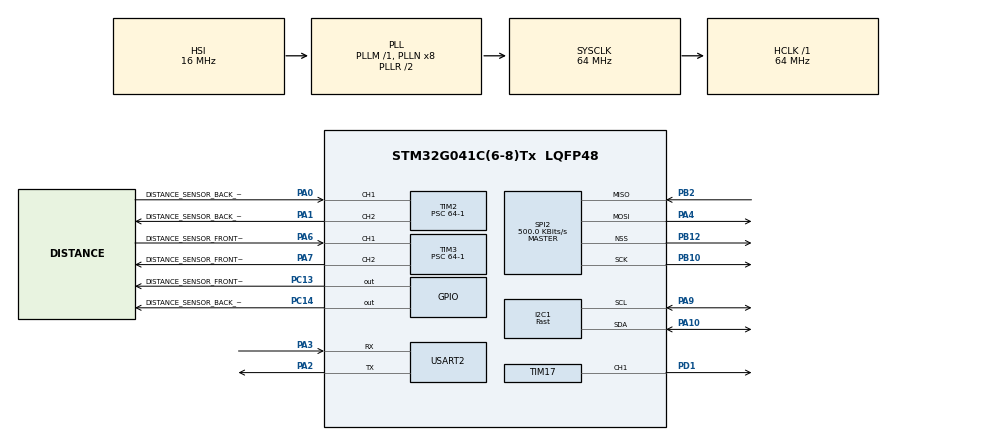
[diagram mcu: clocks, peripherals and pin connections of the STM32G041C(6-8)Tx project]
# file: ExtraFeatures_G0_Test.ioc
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Dma.I2C1_RX.0.Direction=DMA_PERIPH_TO_MEMORY
Dma.I2C1_RX.0.EventEnable=DISABLE
Dma.I2C1_RX.0.Instance=DMA1_Channel1
Dma.I2C1_RX.0.MemDataAlignment=DMA_MDATAALIGN_HALFWORD
Dma.I2C1_RX.0.MemInc=DMA_MINC_ENABLE
Dma.I2C1_RX.0.Mode=DMA_NORMAL
Dma.I2C1_RX.0.PeriphDataAlignment=DMA_PDATAALIGN_HALFWORD
Dma.I2C1_RX.0.PeriphInc=DMA_PINC_DISABLE
Dma.I2C1_RX.0.Polarity=HAL_DMAMUX_REQ_GEN_RISING
Dma.I2C1_RX.0.Priority=DMA_PRIORITY_MEDIUM
Dma.I2C1_RX.0.RequestNumber=1
Dma.I2C1_RX.0.SignalID=NONE
Dma.I2C1_RX.0.SyncEnable=DISABLE
Dma.I2C1_RX.0.SyncPolarity=HAL_DMAMUX_SYNC_NO_EVENT
Dma.I2C1_RX.0.SyncRequestNumber=1
Dma.I2C1_RX.0.SyncSignalID=NONE
Dma.Request0=I2C1_RX
I2C1.I2C_Speed_Mode=I2C_Fast
I2C1.Timing=0x00602173
Mcu.Family=STM32G0
Mcu.Name=STM32G041C(6-8)Tx
Mcu.Package=LQFP48
NVIC.DMA1_Channel1_IRQn=true\:0\:0\:false\:false\:true\:false\:true\:true
NVIC.I2C1_IRQn=true\:0\:0\:false\:false\:true\:true\:true\:true
NVIC.SPI2_IRQn=true\:0\:0\:false\:false\:true\:true\:true\:true
NVIC.TIM2_IRQn=true\:0\:0\:false\:false\:true\:true\:true\:true
NVIC.TIM3_IRQn=true\:0\:0\:false\:false\:true\:true\:true\:true
PA0.GPIO_Label=DISTANCE_SENSOR_BACK_INPUT_CAPTURE
PA0.Signal=S_TIM2_CH1_ETR
PA1.GPIO_Label=DISTANCE_SENSOR_BACK_PULSE
PA1.Signal=S_TIM2_CH2
PA10.Mode=I2C
PA10.Signal=I2C1_SDA
PA13.Mode=Serial_Wire
PA13.Signal=SYS_SWDIO
PA14-BOOT0.Mode=Serial_Wire
PA14-BOOT0.Signal=SYS_SWCLK
PA2.Mode=Asynchronous
PA2.Signal=USART2_TX
PA3.Mode=Asynchronous
PA3.Signal=USART2_RX
PA4.Mode=Full_Duplex_Master
PA4.Signal=SPI2_MOSI
PA6.GPIO_Label=DISTANCE_SENSOR_FRONT_INPUT_CAPTURE
PA6.Signal=S_TIM3_CH1
PA7.GPIO_Label=DISTANCE_SENSOR_FRONT_PULSE
PA7.PinState=GPIO_PIN_RESET
PA7.Signal=S_TIM3_CH2
PA9.Mode=I2C
PA9.Signal=I2C1_SCL
PB10.Mode=Full_Duplex_Master
PB10.Signal=SPI2_SCK
PB12.Mode=NSS_Signal_Hard_Output
PB12.Signal=SPI2_NSS
PB2.Mode=Full_Duplex_Master
PB2.Signal=SPI2_MISO
PC13.GPIO_Label=DISTANCE_SENSOR_FRONT_STATUS
PC13.Signal=GPIO_Output
PC14-OSC32_IN\ (PC14).GPIO_Label=DISTANCE_SENSOR_BACK_STATUS
PC14-OSC32_IN\ (PC14).Signal=GPIO_Output
PD1.Signal=S_TIM17_CH1
ProjectManager.HeapSize=0x200
ProjectManager.StackSize=0x400
ProjectManager.TargetToolchain=STM32CubeIDE
RCC.ADCFreq_Value=64000000
RCC.AHBFreq_Value=64000000
RCC.CortexFreq_Value=64000000
RCC.EXTERNAL_CLOCK_VALUE=12288000
RCC.HCLKFreq_Value=64000000
RCC.HSE_VALUE=8000000
RCC.HSI_VALUE=16000000
RCC.LSE_VALUE=32768
RCC.SYSCLKFreq_VALUE=64000000
RCC.SYSCLKSource=RCC_SYSCLKSOURCE_PLLCLK
RCC.VCOOutputFreq_Value=128000000
SH.S_TIM17_CH1.0=TIM17_CH1,PWM Generation1 CH1
SH.S_TIM2_CH1_ETR.0=TIM2_CH1,Input_Capture1_from_TI1
SH.S_TIM2_CH2.0=TIM2_CH2,PWM Generation2 CH2
SH.S_TIM3_CH1.0=TIM3_CH1,Input_Capture1_from_TI1
SH.S_TIM3_CH2.0=TIM3_CH2,PWM Generation2 CH2
SPI2.BaudRatePrescaler=SPI_BAUDRATEPRESCALER_128
SPI2.CalculateBaudRate=500.0 KBits/s
SPI2.Direction=SPI_DIRECTION_2LINES
SPI2.Mode=SPI_MODE_MASTER
SPI2.VirtualNSS=VM_NSSHARD
SPI2.VirtualType=VM_MASTER
TIM17.AutoReloadPreload=TIM_AUTORELOAD_PRELOAD_ENABLE
TIM17.Channel=TIM_CHANNEL_1
TIM17.Period=2273
TIM17.Prescaler=64-1
TIM17.Pulse=1137
TIM2.AutoReloadPreload=TIM_AUTORELOAD_PRELOAD_ENABLE
TIM2.Channel-Input_Capture1_from_TI1=TIM_CHANNEL_1
TIM2.Channel-PWM\ Generation2\ CH2=TIM_CHANNEL_2
TIM2.ICPolarity_CH1=TIM_INPUTCHANNELPOLARITY_BOTHEDGE
TIM2.Period=65535
TIM2.Prescaler=64-1
TIM2.Pulse-PWM\ Generation2\ CH2=10
TIM3.AutoReloadPreload=TIM_AUTORELOAD_PRELOAD_ENABLE
TIM3.Channel-Input_Capture1_from_TI1=TIM_CHANNEL_1
TIM3.Channel-PWM\ Generation2\ CH2=TIM_CHANNEL_2
TIM3.ICPolarity_CH1=TIM_INPUTCHANNELPOLARITY_BOTHEDGE
TIM3.OCPolarity_2=TIM_OCPOLARITY_HIGH
TIM3.Period=65535
TIM3.Prescaler=64-1
TIM3.Pulse-PWM\ Generation2\ CH2=10
USART2.VirtualMode-Asynchronous=VM_ASYNC
VP_TIM17_VS_ClockSourceINT.Mode=Enable_Timer
VP_TIM2_VS_ClockSourceINT.Mode=Internal
VP_TIM3_VS_ClockSourceINT.Mode=Internal
board=custom

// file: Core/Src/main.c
/* USER CODE BEGIN Header */
/**
  ******************************************************************************
  * @file           : main.c
  * @brief          : Main program body
  ******************************************************************************
  * @attention
  *
  * Copyright (c) 2025 STMicroelectronics.
  * All rights reserved.
  *
  * This software is licensed under terms that can be found in the LICENSE file
  * in the root directory of this software component.
  * If no LICENSE file comes with this software, it is provided AS-IS.
  *
  ******************************************************************************
  */
/* USER CODE END Header */
#include "main.h"

/* USER CODE BEGIN Includes */
#include <stdio.h>
#include <string.h>

#include "distancesensor.h"
//#include "speaker.h"
//#include "colorsensor.h"
//#include "rfid.h"
/* USER CODE END Includes */

I2C_HandleTypeDef hi2c1;
DMA_HandleTypeDef hdma_i2c1_rx;

SPI_HandleTypeDef hspi2;

TIM_HandleTypeDef htim2;
TIM_HandleTypeDef htim3;
TIM_HandleTypeDef htim17;

UART_HandleTypeDef huart2;

/* USER CODE BEGIN PV */
distancesensor Front;
distancesensor Back;
char Data[64];
/* USER CODE END PV */

void SystemClock_Config(void);
static void MX_GPIO_Init(void);
static void MX_DMA_Init(void);
static void MX_TIM3_Init(void);
static void MX_USART2_UART_Init(void);
static void MX_TIM2_Init(void);
static void MX_TIM17_Init(void);
static void MX_I2C1_Init(void);
static void MX_SPI2_Init(void);

/* USER CODE BEGIN 0 */

void HAL_TIM_IC_CaptureCallback(TIM_HandleTypeDef *htim) {
    if (htim->Instance == TIM3) {
		DistanceSensor_InputCaptureInterrupt(&Front);
	}
	else if (htim->Instance == TIM2) {
		DistanceSensor_InputCaptureInterrupt(&Back);
	}

}

void HAL_TIM_PeriodElapsedCallback(TIM_HandleTypeDef *htim)
{
	if (htim->Instance == TIM3)
	{
		//Front.risingEdge = true;
	}
}
/*
void HAL_TIM_PWM_PulseFinishedCallback(TIM_HandleTypeDef *htim)
{
	if (htim->Instance == TIM3)
	{
		//DistanceSensor_StopPWM(&Front);
	}
}
*/

/* USER CODE END 0 */

int main(void)
{

  /* MCU Configuration--------------------------------------------------------*/

  /* Reset of all peripherals, Initializes the Flash interface and the Systick. */
  HAL_Init();

  /* Configure the system clock */
  SystemClock_Config();

  /* Initialize all configured peripherals */
  MX_GPIO_Init();
  MX_DMA_Init();
  MX_TIM3_Init();
  MX_USART2_UART_Init();
  MX_TIM2_Init();
  MX_TIM17_Init();
  MX_I2C1_Init();
  MX_SPI2_Init();
  /* USER CODE BEGIN 2 */
  //Speaker_Init(&Speaker, &htim17);
  DistanceSensor_Init(&Front, &htim3);
  //DistanceSensor_Init(&Back, &htim2, DISTANCE_SENSOR_BACK_ID, DISTANCE_SENSOR_BACK_INPUT_CAPTURE_GPIO_Port, DISTANCE_SENSOR_BACK_INPUT_CAPTURE_Pin, DISTANCE_SENSOR_BACK_STATUS_GPIO_Port, DISTANCE_SENSOR_BACK_STATUS_Pin);
  //ColorSensor_Init(&ColorSensor, &hi2c1, 0x10);
  //RFID_Init(&RFIDModule, &hspi2);
  //HAL_Delay(100);
  /* USER CODE END 2 */

  /* Infinite loop */
  /* USER CODE BEGIN WHILE */
  //DistanceSensor_Start(&FrontDistanceSensor);
  //__HAL_TIM_SET_COMPARE(&htim3, TIM_CHANNEL_2, 1000);
  DistanceSensor_Start(&Front);
  //DistanceSensor_Start(&Front);
  //DistanceSensor_Start(&Back);
  //uint8_t value;
  //HAL_TIM_PWM_Start(&htim3, TIM_CHANNEL_2);
  while (1)
  {
	  /*
	  sprintf(Data, "%f %f\r\n", DistanceSensor_GetDistance(&Front), DistanceSensor_GetDistance(&Back));
	  HAL_UART_Transmit(&huart2, (uint8_t*) Data, strlen(Data), HAL_MAX_DELAY);
	  HAL_Delay(100);

	*/

	  //RFID_ReadRegister(&RFIDModule, TPrescalerReg, 1, &value, 0);
	  sprintf(Data, "%f\r\n", DistanceSensor_GetDistance(&Front));
	  HAL_UART_Transmit(&huart2, (uint8_t*) Data, strlen(Data), HAL_MAX_DELAY);
	  HAL_Delay(250);

	  //DistanceSensor_Start(&Front);

    /* USER CODE END WHILE */

  }
}

void SystemClock_Config(void)
{
  RCC_OscInitTypeDef RCC_OscInitStruct = {0};
  RCC_ClkInitTypeDef RCC_ClkInitStruct = {0};

  /** Configure the main internal regulator output voltage
  */
  HAL_PWREx_ControlVoltageScaling(PWR_REGULATOR_VOLTAGE_SCALE1);

  /** Initializes the RCC Oscillators according to the specified parameters
  * in the RCC_OscInitTypeDef structure.
  */
  RCC_OscInitStruct.OscillatorType = RCC_OSCILLATORTYPE_HSI;
  RCC_OscInitStruct.HSIState = RCC_HSI_ON;
  RCC_OscInitStruct.HSIDiv = RCC_HSI_DIV1;
  RCC_OscInitStruct.HSICalibrationValue = RCC_HSICALIBRATION_DEFAULT;
  RCC_OscInitStruct.PLL.PLLState = RCC_PLL_ON;
  RCC_OscInitStruct.PLL.PLLSource = RCC_PLLSOURCE_HSI;
  RCC_OscInitStruct.PLL.PLLM = RCC_PLLM_DIV1;
  RCC_OscInitStruct.PLL.PLLN = 8;
  RCC_OscInitStruct.PLL.PLLP = RCC_PLLP_DIV2;
  RCC_OscInitStruct.PLL.PLLQ = RCC_PLLQ_DIV2;
  RCC_OscInitStruct.PLL.PLLR = RCC_PLLR_DIV2;
  if (HAL_RCC_OscConfig(&RCC_OscInitStruct) != HAL_OK)
  {
    Error_Handler();
  }

  /** Initializes the CPU, AHB and APB buses clocks
  */
  RCC_ClkInitStruct.ClockType = RCC_CLOCKTYPE_HCLK|RCC_CLOCKTYPE_SYSCLK
                              |RCC_CLOCKTYPE_PCLK1;
  RCC_ClkInitStruct.SYSCLKSource = RCC_SYSCLKSOURCE_PLLCLK;
  RCC_ClkInitStruct.AHBCLKDivider = RCC_SYSCLK_DIV1;
  RCC_ClkInitStruct.APB1CLKDivider = RCC_HCLK_DIV1;

  if (HAL_RCC_ClockConfig(&RCC_ClkInitStruct, FLASH_LATENCY_2) != HAL_OK)
  {
    Error_Handler();
  }
}

static void MX_I2C1_Init(void)
{

  hi2c1.Instance = I2C1;
  hi2c1.Init.Timing = 0x00602173;
  hi2c1.Init.OwnAddress1 = 0;
  hi2c1.Init.AddressingMode = I2C_ADDRESSINGMODE_7BIT;
  hi2c1.Init.DualAddressMode = I2C_DUALADDRESS_DISABLE;
  hi2c1.Init.OwnAddress2 = 0;
  hi2c1.Init.OwnAddress2Masks = I2C_OA2_NOMASK;
  hi2c1.Init.GeneralCallMode = I2C_GENERALCALL_DISABLE;
  hi2c1.Init.NoStretchMode = I2C_NOSTRETCH_DISABLE;
  if (HAL_I2C_Init(&hi2c1) != HAL_OK)
  {
    Error_Handler();
  }

  /** Configure Analogue filter
  */
  if (HAL_I2CEx_ConfigAnalogFilter(&hi2c1, I2C_ANALOGFILTER_ENABLE) != HAL_OK)
  {
    Error_Handler();
  }

  /** Configure Digital filter
  */
  if (HAL_I2CEx_ConfigDigitalFilter(&hi2c1, 0) != HAL_OK)
  {
    Error_Handler();
  }

}

static void MX_SPI2_Init(void)
{

  /* SPI2 parameter configuration*/
  hspi2.Instance = SPI2;
  hspi2.Init.Mode = SPI_MODE_MASTER;
  hspi2.Init.Direction = SPI_DIRECTION_2LINES;
  hspi2.Init.DataSize = SPI_DATASIZE_8BIT;
  hspi2.Init.CLKPolarity = SPI_POLARITY_LOW;
  hspi2.Init.CLKPhase = SPI_PHASE_1EDGE;
  hspi2.Init.NSS = SPI_NSS_HARD_OUTPUT;
  hspi2.Init.BaudRatePrescaler = SPI_BAUDRATEPRESCALER_128;
  hspi2.Init.FirstBit = SPI_FIRSTBIT_MSB;
  hspi2.Init.TIMode = SPI_TIMODE_DISABLE;
  hspi2.Init.CRCCalculation = SPI_CRCCALCULATION_DISABLE;
  hspi2.Init.CRCPolynomial = 7;
  hspi2.Init.CRCLength = SPI_CRC_LENGTH_DATASIZE;
  hspi2.Init.NSSPMode = SPI_NSS_PULSE_ENABLE;
  if (HAL_SPI_Init(&hspi2) != HAL_OK)
  {
    Error_Handler();
  }

}

static void MX_TIM2_Init(void)
{

  TIM_ClockConfigTypeDef sClockSourceConfig = {0};
  TIM_MasterConfigTypeDef sMasterConfig = {0};
  TIM_IC_InitTypeDef sConfigIC = {0};
  TIM_OC_InitTypeDef sConfigOC = {0};

  htim2.Instance = TIM2;
  htim2.Init.Prescaler = 64-1;
  htim2.Init.CounterMode = TIM_COUNTERMODE_UP;
  htim2.Init.Period = 65535;
  htim2.Init.ClockDivision = TIM_CLOCKDIVISION_DIV1;
  htim2.Init.AutoReloadPreload = TIM_AUTORELOAD_PRELOAD_ENABLE;
  if (HAL_TIM_Base_Init(&htim2) != HAL_OK)
  {
    Error_Handler();
  }
  sClockSourceConfig.ClockSource = TIM_CLOCKSOURCE_INTERNAL;
  if (HAL_TIM_ConfigClockSource(&htim2, &sClockSourceConfig) != HAL_OK)
  {
    Error_Handler();
  }
  if (HAL_TIM_IC_Init(&htim2) != HAL_OK)
  {
    Error_Handler();
  }
  if (HAL_TIM_PWM_Init(&htim2) != HAL_OK)
  {
    Error_Handler();
  }
  sMasterConfig.MasterOutputTrigger = TIM_TRGO_RESET;
  sMasterConfig.MasterSlaveMode = TIM_MASTERSLAVEMODE_DISABLE;
  if (HAL_TIMEx_MasterConfigSynchronization(&htim2, &sMasterConfig) != HAL_OK)
  {
    Error_Handler();
  }
  sConfigIC.ICPolarity = TIM_INPUTCHANNELPOLARITY_BOTHEDGE;
  sConfigIC.ICSelection = TIM_ICSELECTION_DIRECTTI;
  sConfigIC.ICPrescaler = TIM_ICPSC_DIV1;
  sConfigIC.ICFilter = 0;
  if (HAL_TIM_IC_ConfigChannel(&htim2, &sConfigIC, TIM_CHANNEL_1) != HAL_OK)
  {
    Error_Handler();
  }
  sConfigOC.OCMode = TIM_OCMODE_PWM1;
  sConfigOC.Pulse = 10;
  sConfigOC.OCPolarity = TIM_OCPOLARITY_HIGH;
  sConfigOC.OCFastMode = TIM_OCFAST_DISABLE;
  if (HAL_TIM_PWM_ConfigChannel(&htim2, &sConfigOC, TIM_CHANNEL_2) != HAL_OK)
  {
    Error_Handler();
  }
  HAL_TIM_MspPostInit(&htim2);

}

static void MX_TIM3_Init(void)
{

  TIM_ClockConfigTypeDef sClockSourceConfig = {0};
  TIM_MasterConfigTypeDef sMasterConfig = {0};
  TIM_IC_InitTypeDef sConfigIC = {0};
  TIM_OC_InitTypeDef sConfigOC = {0};

  htim3.Instance = TIM3;
  htim3.Init.Prescaler = 64-1;
  htim3.Init.CounterMode = TIM_COUNTERMODE_UP;
  htim3.Init.Period = 65535;
  htim3.Init.ClockDivision = TIM_CLOCKDIVISION_DIV1;
  htim3.Init.AutoReloadPreload = TIM_AUTORELOAD_PRELOAD_ENABLE;
  if (HAL_TIM_Base_Init(&htim3) != HAL_OK)
  {
    Error_Handler();
  }
  sClockSourceConfig.ClockSource = TIM_CLOCKSOURCE_INTERNAL;
  if (HAL_TIM_ConfigClockSource(&htim3, &sClockSourceConfig) != HAL_OK)
  {
    Error_Handler();
  }
  if (HAL_TIM_IC_Init(&htim3) != HAL_OK)
  {
    Error_Handler();
  }
  if (HAL_TIM_PWM_Init(&htim3) != HAL_OK)
  {
    Error_Handler();
  }
  sMasterConfig.MasterOutputTrigger = TIM_TRGO_RESET;
  sMasterConfig.MasterSlaveMode = TIM_MASTERSLAVEMODE_DISABLE;
  if (HAL_TIMEx_MasterConfigSynchronization(&htim3, &sMasterConfig) != HAL_OK)
  {
    Error_Handler();
  }
  sConfigIC.ICPolarity = TIM_INPUTCHANNELPOLARITY_BOTHEDGE;
  sConfigIC.ICSelection = TIM_ICSELECTION_DIRECTTI;
  sConfigIC.ICPrescaler = TIM_ICPSC_DIV1;
  sConfigIC.ICFilter = 0;
  if (HAL_TIM_IC_ConfigChannel(&htim3, &sConfigIC, TIM_CHANNEL_1) != HAL_OK)
  {
    Error_Handler();
  }
  sConfigOC.OCMode = TIM_OCMODE_PWM1;
  sConfigOC.Pulse = 10;
  sConfigOC.OCPolarity = TIM_OCPOLARITY_HIGH;
  sConfigOC.OCFastMode = TIM_OCFAST_DISABLE;
  if (HAL_TIM_PWM_ConfigChannel(&htim3, &sConfigOC, TIM_CHANNEL_2) != HAL_OK)
  {
    Error_Handler();
  }
  HAL_TIM_MspPostInit(&htim3);

}

static void MX_TIM17_Init(void)
{

  TIM_OC_InitTypeDef sConfigOC = {0};
  TIM_BreakDeadTimeConfigTypeDef sBreakDeadTimeConfig = {0};

  htim17.Instance = TIM17;
  htim17.Init.Prescaler = 64-1;
  htim17.Init.CounterMode = TIM_COUNTERMODE_UP;
  htim17.Init.Period = 2273;
  htim17.Init.ClockDivision = TIM_CLOCKDIVISION_DIV1;
  htim17.Init.RepetitionCounter = 0;
  htim17.Init.AutoReloadPreload = TIM_AUTORELOAD_PRELOAD_ENABLE;
  if (HAL_TIM_Base_Init(&htim17) != HAL_OK)
  {
    Error_Handler();
  }
  if (HAL_TIM_PWM_Init(&htim17) != HAL_OK)
  {
    Error_Handler();
  }
  sConfigOC.OCMode = TIM_OCMODE_PWM1;
  sConfigOC.Pulse = 1137;
  sConfigOC.OCPolarity = TIM_OCPOLARITY_HIGH;
  sConfigOC.OCNPolarity = TIM_OCNPOLARITY_HIGH;
  sConfigOC.OCFastMode = TIM_OCFAST_DISABLE;
  sConfigOC.OCIdleState = TIM_OCIDLESTATE_RESET;
  sConfigOC.OCNIdleState = TIM_OCNIDLESTATE_RESET;
  if (HAL_TIM_PWM_ConfigChannel(&htim17, &sConfigOC, TIM_CHANNEL_1) != HAL_OK)
  {
    Error_Handler();
  }
  sBreakDeadTimeConfig.OffStateRunMode = TIM_OSSR_DISABLE;
  sBreakDeadTimeConfig.OffStateIDLEMode = TIM_OSSI_DISABLE;
  sBreakDeadTimeConfig.LockLevel = TIM_LOCKLEVEL_OFF;
  sBreakDeadTimeConfig.DeadTime = 0;
  sBreakDeadTimeConfig.BreakState = TIM_BREAK_DISABLE;
  sBreakDeadTimeConfig.BreakPolarity = TIM_BREAKPOLARITY_HIGH;
  sBreakDeadTimeConfig.BreakFilter = 0;
  sBreakDeadTimeConfig.AutomaticOutput = TIM_AUTOMATICOUTPUT_DISABLE;
  if (HAL_TIMEx_ConfigBreakDeadTime(&htim17, &sBreakDeadTimeConfig) != HAL_OK)
  {
    Error_Handler();
  }
  HAL_TIM_MspPostInit(&htim17);

}

static void MX_USART2_UART_Init(void)
{

  huart2.Instance = USART2;
  huart2.Init.BaudRate = 115200;
  huart2.Init.WordLength = UART_WORDLENGTH_8B;
  huart2.Init.StopBits = UART_STOPBITS_1;
  huart2.Init.Parity = UART_PARITY_NONE;
  huart2.Init.Mode = UART_MODE_TX_RX;
  huart2.Init.HwFlowCtl = UART_HWCONTROL_NONE;
  huart2.Init.OverSampling = UART_OVERSAMPLING_16;
  huart2.Init.OneBitSampling = UART_ONE_BIT_SAMPLE_DISABLE;
  huart2.Init.ClockPrescaler = UART_PRESCALER_DIV1;
  huart2.AdvancedInit.AdvFeatureInit = UART_ADVFEATURE_NO_INIT;
  if (HAL_UART_Init(&huart2) != HAL_OK)
  {
    Error_Handler();
  }

}

static void MX_DMA_Init(void)
{

  /* DMA controller clock enable */
  __HAL_RCC_DMA1_CLK_ENABLE();

  /* DMA interrupt init */
  /* DMA1_Channel1_IRQn interrupt configuration */
  HAL_NVIC_SetPriority(DMA1_Channel1_IRQn, 0, 0);
  HAL_NVIC_EnableIRQ(DMA1_Channel1_IRQn);

}

static void MX_GPIO_Init(void)
{
  GPIO_InitTypeDef GPIO_InitStruct = {0};

  /* GPIO Ports Clock Enable */
  __HAL_RCC_GPIOC_CLK_ENABLE();
  __HAL_RCC_GPIOA_CLK_ENABLE();
  __HAL_RCC_GPIOB_CLK_ENABLE();
  __HAL_RCC_GPIOD_CLK_ENABLE();

  /*Configure GPIO pin Output Level */
  HAL_GPIO_WritePin(GPIOC, DISTANCE_SENSOR_FRONT_STATUS_Pin|DISTANCE_SENSOR_BACK_STATUS_Pin, GPIO_PIN_RESET);

  /*Configure GPIO pins : DISTANCE_SENSOR_FRONT_STATUS_Pin DISTANCE_SENSOR_BACK_STATUS_Pin */
  GPIO_InitStruct.Pin = DISTANCE_SENSOR_FRONT_STATUS_Pin|DISTANCE_SENSOR_BACK_STATUS_Pin;
  GPIO_InitStruct.Mode = GPIO_MODE_OUTPUT_PP;
  GPIO_InitStruct.Pull = GPIO_NOPULL;
  GPIO_InitStruct.Speed = GPIO_SPEED_FREQ_LOW;
  HAL_GPIO_Init(GPIOC, &GPIO_InitStruct);

}

void Error_Handler(void)
{
  __disable_irq();
  while (1)
  {
  }
}
